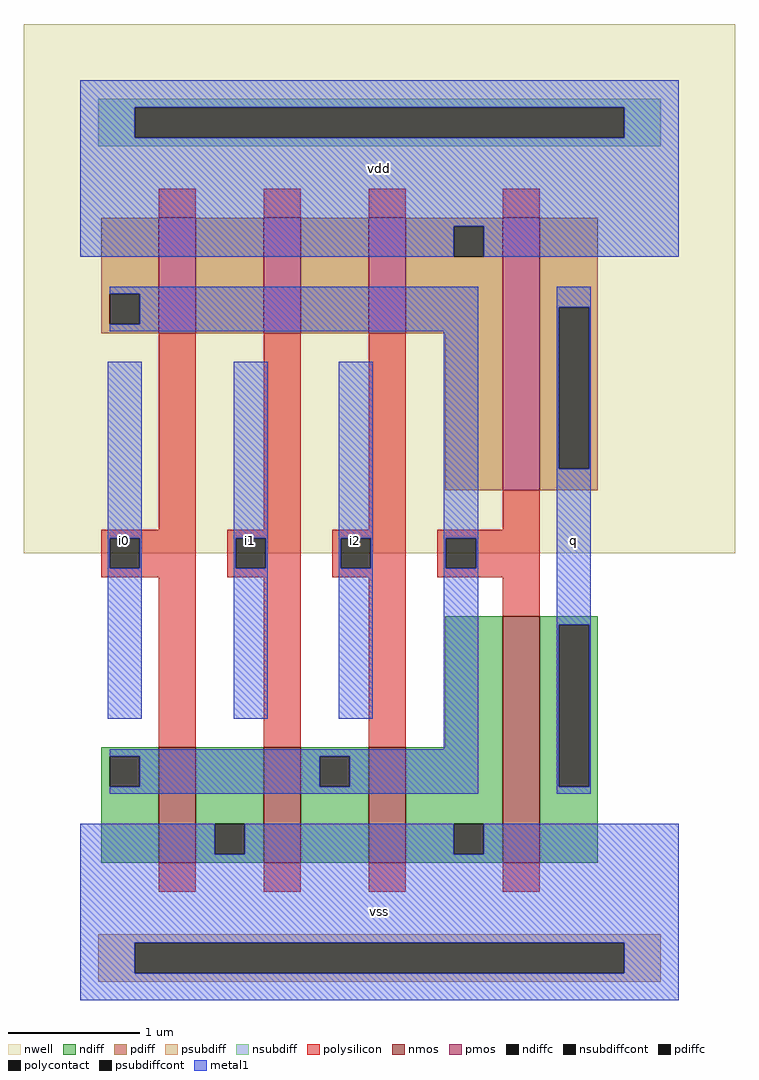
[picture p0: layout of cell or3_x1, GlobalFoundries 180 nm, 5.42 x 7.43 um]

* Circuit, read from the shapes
.subckt or3_x1 vdd vss i0 i1 i2 q
XM1 vss i0 n1 vss nfet_03v3 w=0.88u l=0.28u
XM2 n1 i1 vss vss nfet_03v3 w=0.88u l=0.28u
XM3 vss i2 n1 vss nfet_03v3 w=0.88u l=0.28u
XM4 q n1 vss vss nfet_03v3 w=1.875u l=0.28u
XM5 n2 i0 n1 vdd pfet_03v3 w=0.88u l=0.28u
XM6 n3 i1 n2 vdd pfet_03v3 w=0.88u l=0.28u
XM7 vdd i2 n3 vdd pfet_03v3 w=0.88u l=0.28u
XM8 q n1 vdd vdd pfet_03v3 w=2.075u l=0.28u
.ends

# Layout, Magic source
magic
tech gf180mcuD
magscale 1 10
<< nwell >>
rect -86 680 998 1486
<< nmos >>
rect 120 209 176 385
rect 280 209 336 385
rect 440 209 496 385
rect 644 209 700 584
<< pmos >>
rect 120 1015 176 1191
rect 280 1015 336 1191
rect 440 1015 496 1191
rect 644 776 700 1191
<< ndiff >>
rect 556 385 644 584
rect 32 371 120 385
rect 32 325 45 371
rect 91 325 120 371
rect 32 209 120 325
rect 176 268 280 385
rect 176 222 205 268
rect 251 222 280 268
rect 176 209 280 222
rect 336 371 440 385
rect 336 325 365 371
rect 411 325 440 371
rect 336 209 440 325
rect 496 268 644 385
rect 496 222 569 268
rect 615 222 644 268
rect 496 209 644 222
rect 700 571 788 584
rect 700 325 729 571
rect 775 325 788 571
rect 700 209 788 325
<< pdiff >>
rect 32 1075 120 1191
rect 32 1029 45 1075
rect 91 1029 120 1075
rect 32 1015 120 1029
rect 176 1015 280 1191
rect 336 1015 440 1191
rect 496 1178 644 1191
rect 496 1132 569 1178
rect 615 1132 644 1178
rect 496 1015 644 1132
rect 556 776 644 1015
rect 700 1055 788 1191
rect 700 809 729 1055
rect 775 809 788 1055
rect 700 776 788 809
<< ndiffc >>
rect 45 325 91 371
rect 205 222 251 268
rect 365 325 411 371
rect 569 222 615 268
rect 729 325 775 571
<< pdiffc >>
rect 45 1029 91 1075
rect 569 1132 615 1178
rect 729 809 775 1055
<< psubdiff >>
rect 28 87 884 100
rect 28 41 83 87
rect 829 41 884 87
rect 28 28 884 41
<< nsubdiff >>
rect 28 1359 884 1372
rect 28 1313 83 1359
rect 829 1313 884 1359
rect 28 1300 884 1313
<< psubdiffcont >>
rect 83 41 829 87
<< nsubdiffcont >>
rect 83 1313 829 1359
<< polysilicon >>
rect 120 1191 176 1235
rect 280 1191 336 1235
rect 440 1191 496 1235
rect 644 1191 700 1235
rect 120 716 176 1015
rect 280 716 336 1015
rect 440 716 496 1015
rect 644 716 700 776
rect 32 703 176 716
rect 32 657 45 703
rect 91 657 176 703
rect 32 644 176 657
rect 224 703 336 716
rect 224 657 237 703
rect 283 657 336 703
rect 224 644 336 657
rect 384 703 496 716
rect 384 657 397 703
rect 443 657 496 703
rect 384 644 496 657
rect 544 703 700 716
rect 544 657 557 703
rect 603 657 700 703
rect 544 644 700 657
rect 120 385 176 644
rect 280 385 336 644
rect 440 385 496 644
rect 644 584 700 644
rect 120 165 176 209
rect 280 165 336 209
rect 440 165 496 209
rect 644 165 700 209
<< polycontact >>
rect 45 657 91 703
rect 237 657 283 703
rect 397 657 443 703
rect 557 657 603 703
<< metal1 >>
rect 0 1359 912 1400
rect 0 1313 83 1359
rect 829 1313 912 1359
rect 0 1178 912 1313
rect 0 1132 569 1178
rect 615 1132 912 1178
rect 45 1075 606 1086
rect 91 1029 606 1075
rect 45 1018 606 1029
rect 42 703 94 972
rect 42 657 45 703
rect 91 657 94 703
rect 42 428 94 657
rect 234 703 286 972
rect 234 657 237 703
rect 283 657 286 703
rect 234 428 286 657
rect 394 703 446 972
rect 394 657 397 703
rect 443 657 446 703
rect 394 428 446 657
rect 554 703 606 1018
rect 554 657 557 703
rect 603 657 606 703
rect 554 382 606 657
rect 45 371 606 382
rect 91 325 365 371
rect 411 325 606 371
rect 45 314 606 325
rect 726 1055 778 1086
rect 726 809 729 1055
rect 775 809 778 1055
rect 726 571 778 809
rect 726 325 729 571
rect 775 325 778 571
rect 726 314 778 325
rect 0 222 205 268
rect 251 222 569 268
rect 615 222 912 268
rect 0 87 912 222
rect 0 41 83 87
rect 829 41 912 87
rect 0 0 912 41
<< labels >>
rlabel metal1 s 0 1132 912 1400 4 vdd
port 3 nsew
rlabel metal1 s 0 0 912 268 4 vss
port 5 nsew
rlabel metal1 s 42 428 94 972 4 i0
port 7 nsew
rlabel metal1 s 234 428 286 972 4 i1
port 9 nsew
rlabel metal1 s 394 428 446 972 4 i2
port 11 nsew
rlabel metal1 s 726 314 778 1086 4 q
port 13 nsew
<< end >>
